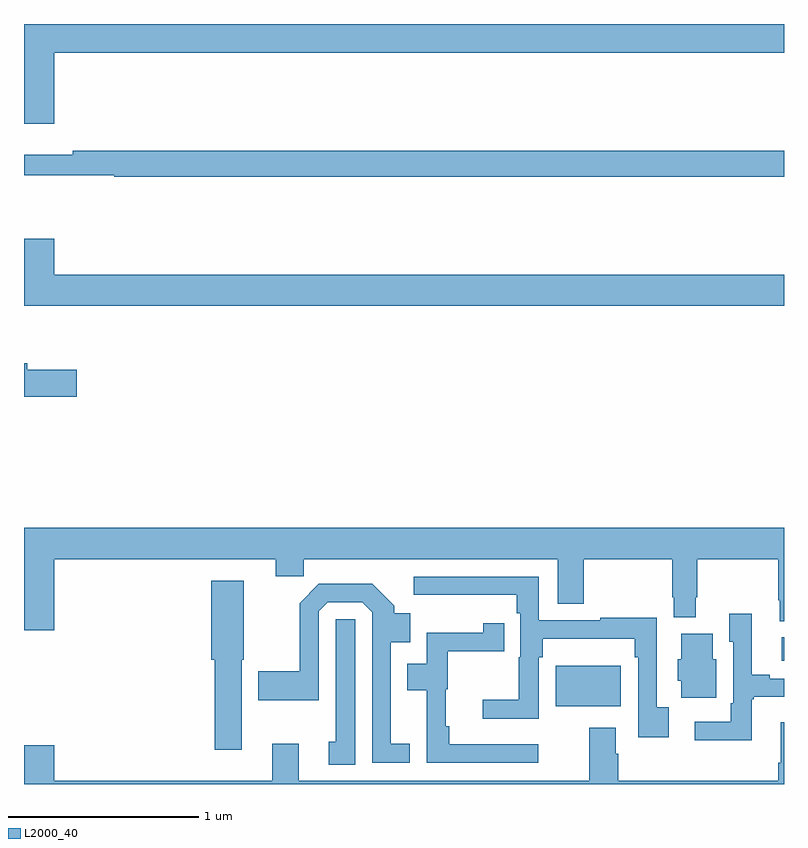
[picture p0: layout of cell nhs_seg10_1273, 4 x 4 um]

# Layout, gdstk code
import gdstk
lib = gdstk.Library(unit=1e-6, precision=1e-09)
def R(c, l, rs):  # rectangles x0, y0, x1, y1
    for r in rs: c.add(gdstk.rectangle(r[:2], r[2:], *l))
def P(c, l, *ps):  # polygons
    for p in ps: c.add(gdstk.Polygon(p, *l))
L2000_40 = (2000, 40)

nhs_seg10_1273 = lib.new_cell('nhs_seg10_1273')
R(nhs_seg10_1273, L2000_40, [(179.798,1264.91,180.142,1265.122), (180.987,1265.15,181,1265.272)])
P(nhs_seg10_1273, L2000_40, [(177.16,1268.348),(181,1268.348),(181,1268.5),(177,1268.5),(177,1267.974),(177.16,1267.974)],
  [(181,1267.832),(177.256,1267.832),(177.256,1267.813),(177,1267.813),(177,1267.704),(177.476,1267.704),(177.476,1267.696),(181,1267.696)],
  [(181,1267.18),(177.16,1267.18),(177.16,1267.369),(177,1267.369),(177,1267.016),(181,1267.016)],
  [(177.277,1266.681),(177.016,1266.681),(177.016,1266.715),(177,1266.715),(177,1266.539),(177.277,1266.539)],
  [(177.16,1265.684),(178.325,1265.684),(178.325,1265.594),(178.472,1265.594),(178.472,1265.684),(179.81,1265.684),(179.81,1265.448),(179.946,1265.448),(179.946,1265.684),(180.412,1265.684),(180.412,1265.482),(180.419,1265.482),(180.419,1265.377),(180.535,1265.377),(180.535,1265.482),(180.543,1265.482),(180.543,1265.684),(180.97,1265.684),(180.97,1265.467),(180.977,1265.467),(180.977,1265.357),(181,1265.357),(181,1265.848),(177,1265.848),(177,1265.31),(177.16,1265.31)],
  [(180.394,1264.905),(180.33,1264.905),(180.33,1265.374),(180.034,1265.374),(180.034,1265.361),(179.709,1265.361),(179.709,1265.592),(179.052,1265.592),(179.052,1265.495),(179.593,1265.495),(179.593,1265.399),(179.613,1265.399),(179.613,1265.168),(179.603,1265.168),(179.603,1264.944),(179.415,1264.944),(179.415,1264.844),(179.709,1264.844),(179.709,1265.168),(179.729,1265.168),(179.729,1265.264),(180.214,1265.264),(180.214,1265.168),(180.234,1265.168),(180.234,1264.746),(180.394,1264.746)],
  [(178.147,1265.154),(178.156,1265.154),(178.156,1265.569),(177.986,1265.569),(177.986,1265.154),(178.004,1265.154),(178.004,1264.68),(178.147,1264.68)],
  [(179.029,1264.712),(178.929,1264.712),(178.929,1265.246),(179.032,1265.246),(179.032,1265.398),(178.949,1265.398),(178.949,1265.437),(178.832,1265.554),(178.552,1265.554),(178.45,1265.452),(178.45,1265.093),(178.232,1265.093),(178.232,1264.94),(178.551,1264.94),(178.551,1265.409),(178.599,1265.457),(178.779,1265.457),(178.833,1265.403),(178.833,1264.611),(179.029,1264.611)],
  [(180.829,1264.947),(180.841,1264.947),(180.841,1264.958),(181,1264.958),(181,1265.055),(180.925,1265.055),(180.925,1265.075),(180.829,1265.075),(180.829,1265.395),(180.713,1265.395),(180.713,1265.25),(180.732,1265.25),(180.732,1264.924),(180.72,1264.924),(180.72,1264.827),(180.531,1264.827),(180.531,1264.73),(180.829,1264.73)],
  [(178.744,1265.367),(178.64,1265.367),(178.64,1264.722),(178.604,1264.722),(178.604,1264.602),(178.744,1264.602)],
  [(179.707,1264.708),(179.237,1264.708),(179.237,1264.804),(179.219,1264.804),(179.219,1264.998),(179.23,1264.998),(179.23,1265.198),(179.528,1265.198),(179.528,1265.347),(179.417,1265.347),(179.417,1265.297),(179.121,1265.297),(179.121,1265.134),(179.018,1265.134),(179.018,1264.994),(179.121,1264.994),(179.121,1264.611),(179.707,1264.611)],
  [(180.643,1265.157),(180.625,1265.157),(180.625,1265.292),(180.458,1265.292),(180.458,1265.157),(180.44,1265.157),(180.44,1265.043),(180.459,1265.043),(180.459,1264.953),(180.643,1264.953)],
  [(181,1264.825),(180.983,1264.825),(180.983,1264.612),(180.971,1264.612),(180.971,1264.516),(180.128,1264.516),(180.128,1264.658),(180.115,1264.658),(180.115,1264.795),(179.975,1264.795),(179.975,1264.516),(178.447,1264.516),(178.447,1264.711),(178.307,1264.711),(178.307,1264.516),(177.16,1264.516),(177.16,1264.705),(177,1264.705),(177,1264.5),(181,1264.5)])

lib.write_gds('nhs_seg10_1273.gds')
